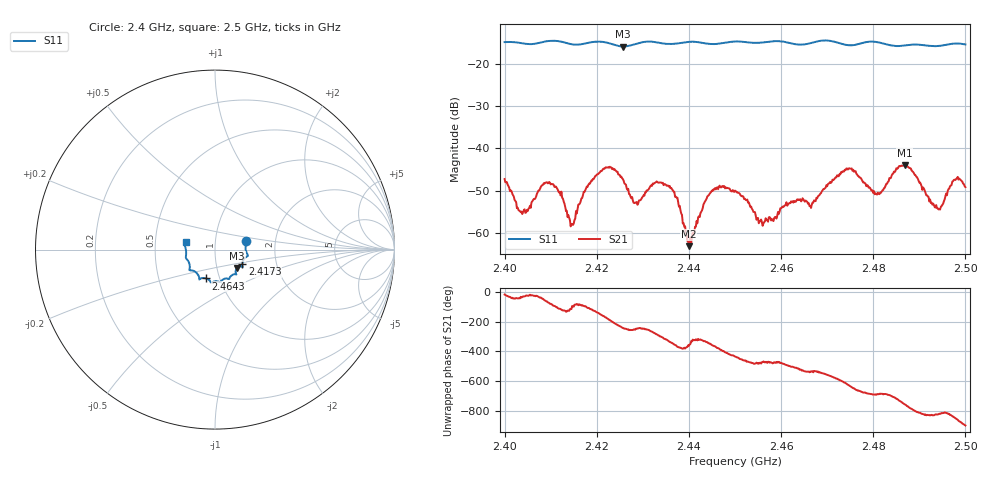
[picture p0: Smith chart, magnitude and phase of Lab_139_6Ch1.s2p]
# Hz S RI R 50
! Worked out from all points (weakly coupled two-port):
!   601 points, 2.4 GHz to 2.5 GHz, reference 50 ohm
!   highest |S21| = -44.02 dB at 2.4868 GHz (marker M1); lowest = -63.2 dB at 2.44 GHz (marker M2)
!   lowest |S11| = -15.9 dB at 2.4257 GHz (marker M3), VSWR 1.38, Z = 62.5 - j13.1 ohm
!   |S11| at or under -10 dB: start of sweep to end of sweep
!   S12 and S22 are empty: the file has one direction only
!   S11 on the Smith chart (normalised r, x): 2.4 GHz: 1.41, +0.14; 2.4173 GHz: 1.34, -0.23; 2.4643 GHz: 0.86, -0.28; 2.5 GHz: 0.72, +0.06
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2.4e9  0.1732 0.0493  0.00418 -0.00113  0 0  0 0
2.4035e9  0.1729 0.0301  0.00151 -0.000889  0 0  0 0
2.409167e9  0.1821 -0.0295  0.00191 -0.00348  0 0  0 0
2.4145e9  0.1623 -0.0511  -0.000492 -0.00117  0 0  0 0
2.416667e9  0.1528 -0.0745  4.36e-05 -0.00255  0 0  0 0
2.417333e9  0.1521 -0.0819  -0.000256 -0.00303  0 0  0 0
2.422e9  0.1514 -0.0945  -0.00587 -0.00101  0 0  0 0
2.425667e9  0.1227 -0.1023  -0.00207 0.0038  0 0  0 0
2.4285e9  0.1152 -0.1278  -0.00092 0.0021  0 0  0 0
2.433333e9  0.1127 -0.1371  0.00142 0.00366  0 0  0 0
2.437e9  0.0873 -0.1486  0.00266 0.000169  0 0  0 0
2.44e9  0.0795 -0.163  0.000695 -2.75e-05  0 0  0 0
2.444833e9  0.0569 -0.1612  0.00303 0.000362  0 0  0 0
2.45e9  0.0292 -0.1807  0.000831 -0.00305  0 0  0 0
2.455667e9  -0.00398 -0.1775  -0.000764 -0.00122  0 0  0 0
2.464333e9  -0.05 -0.1607  -0.00226 -0.000674  0 0  0 0
2.466667e9  -0.0758 -0.1596  -0.00216 -0.000212  0 0  0 0
2.474333e9  -0.1001 -0.1325  -0.00078 0.00572  0 0  0 0
2.483333e9  -0.1407 -0.0901  0.00365 0.00177  0 0  0 0
2.486833e9  -0.1543 -0.0572  0.00493 -0.00392  0 0  0 0
2.494e9  -0.1619 -0.00188  -0.000559 -0.00188  0 0  0 0
2.5e9  -0.1637 0.0421  -0.00347 6.23e-05  0 0  0 0
